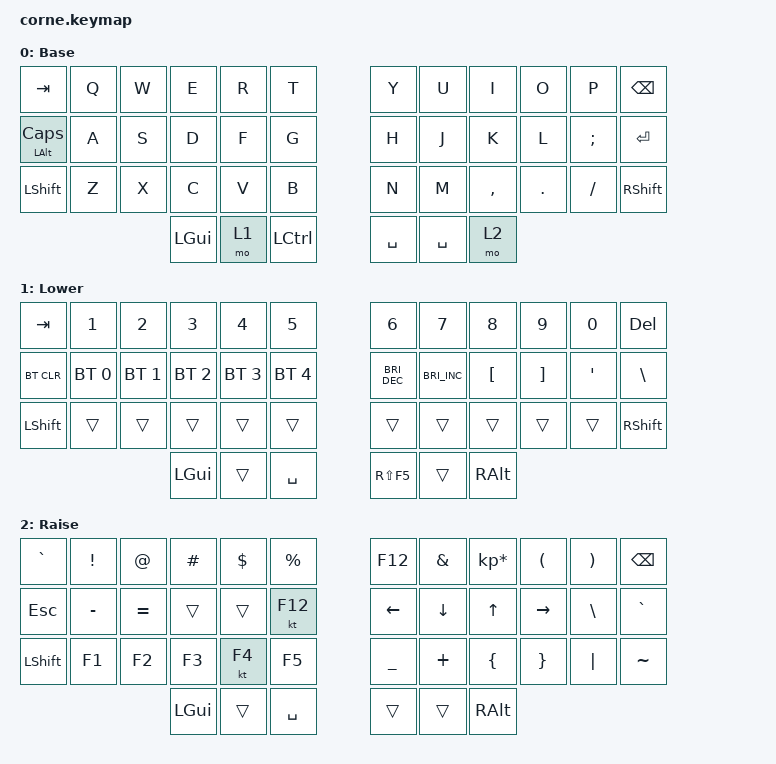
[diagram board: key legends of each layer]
/*
 * Copyright (c) 2020 The ZMK Contributors
 *
 * SPDX-License-Identifier: MIT
 */

#include <behaviors.dtsi>
#include <dt-bindings/zmk/bt.h>
#include <dt-bindings/zmk/keys.h>

/ {
    keymap {
        compatible = "zmk,keymap";

        default_layer {
            // -----------------------------------------------------------------------------------------
            // |  TAB |  Q  |  W  |  E  |  R  |  T  |   |  Y  |  U   |  I  |  O  |  P  | BKSP |
            // | CTRL |  A  |  S  |  D  |  F  |  G  |   |  H  |  J   |  K  |  L  |  ;  |  '   |
            // | SHFT |  Z  |  X  |  C  |  V  |  B  |   |  N  |  M   |  ,  |  .  |  /  | ESC  |
            //                    | GUI | LWR | SPC |   | ENT | RSE  | ALT |

            display-name = "Base";
            bindings = <
&kp TAB                &kp Q  &kp W  &kp E     &kp R  &kp T        &kp Y      &kp U      &kp I      &kp O    &kp P     &kp BSPC
&mt LEFT_ALT CAPSLOCK  &kp A  &kp S  &kp D     &kp F  &kp G        &kp H      &kp J      &kp K      &kp L    &kp SEMI  &kp RET
&kp LSHFT              &kp Z  &kp X  &kp C     &kp V  &kp B        &kp N      &kp M      &kp COMMA  &kp DOT  &kp FSLH  &kp RIGHT_SHIFT
                                     &kp LGUI  &mo 1  &kp LCTRL    &kp SPACE  &kp SPACE  &mo 2
            >;
        };

        lower_layer {
            // -----------------------------------------------------------------------------------------
            // |  TAB |  1  |  2  |  3  |  4  |  5  |   |  6  |  7  |  8  |  9  |  0  | BKSP |
            // | BTCLR| BT1 | BT2 | BT3 | BT4 | BT5 |   | LFT | DWN |  UP | RGT |     |      |
            // | SHFT |     |     |     |     |     |   |     |     |     |     |     |      |
            //                    | GUI |     | SPC |   | ENT |     | ALT |

            display-name = "Lower";
            bindings = <
&kp TAB     &kp N1        &kp N2        &kp N3        &kp N4        &kp N5          &kp N6                &kp N7                &kp N8            &kp N9             &kp N0            &kp DELETE
&bt BT_CLR  &bt BT_SEL 0  &bt BT_SEL 1  &bt BT_SEL 2  &bt BT_SEL 3  &bt BT_SEL 4    &kp C_BRIGHTNESS_DEC  &kp C_BRIGHTNESS_INC  &kp LEFT_BRACKET  &kp RIGHT_BRACKET  &kp SINGLE_QUOTE  &kp BACKSLASH
&kp LSHFT   &trans        &trans        &trans        &trans        &trans          &trans                &trans                &trans            &trans             &trans            &kp RIGHT_SHIFT
                                        &kp LGUI      &trans        &kp SPACE       &kp RS(F5)            &trans                &kp RALT
            >;
        };

        raise_layer {
            // -----------------------------------------------------------------------------------------
            // |  TAB |  !  |  @  |  #  |  $  |  %  |   |  ^  |  &  |  *  |  (  |  )  | BKSP |
            // | CTRL |     |     |     |     |     |   |  -  |  =  |  [  |  ]  |  \  |  `   |
            // | SHFT |     |     |     |     |     |   |  _  |  +  |  {  |  }  | "|" |  ~   |
            //                    | GUI |     | SPC |   | ENT |     | ALT |

            display-name = "Raise";
            bindings = <
&kp GRAVE  &kp EXCL   &kp AT     &kp HASH  &kp DLLR  &kp PRCNT    &kp F12    &kp AMPS  &kp KP_MULTIPLY  &kp LPAR   &kp RPAR  &kp BSPC
&kp ESC    &kp MINUS  &kp EQUAL  &trans    &trans    &kt F12      &kp LEFT   &kp DOWN  &kp UP           &kp RIGHT  &kp BSLH  &kp GRAVE
&kp LSHFT  &kp F1     &kp F2     &kp F3    &kt F4    &kp F5       &kp UNDER  &kp PLUS  &kp LBRC         &kp RBRC   &kp PIPE  &kp TILDE
                                 &kp LGUI  &trans    &kp SPACE    &trans     &trans    &kp RALT
            >;
        };

        extra_1 { status = "reserved"; };

        extra_2 { status = "reserved"; };

        extra_3 { status = "reserved"; };
    };
};
